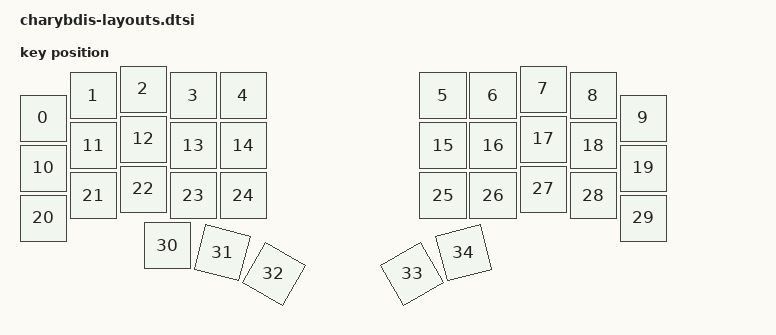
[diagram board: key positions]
#include <physical_layouts.dtsi>

/ {
    charybdis_physical_layout: charybdis_physical_layout {
        compatible = "zmk,physical-layout";
        display-name = "Charybdis Nano 3x5";

        kscan = <&kscan0>;
        transform = <&five_column_transform>;

        keys
            // Left Half - Main Keys
            //                       w   h    x    y     rot    rx    ry
            = <&key_physical_attrs 100 100    0   58       0     0     0>
            , <&key_physical_attrs 100 100  100   13       0     0     0>
            , <&key_physical_attrs 100 100  200    0       0     0     0>
            , <&key_physical_attrs 100 100  300   13       0     0     0>
            , <&key_physical_attrs 100 100  400   13       0     0     0>
            , <&key_physical_attrs 100 100  800   13       0     0     0>
            , <&key_physical_attrs 100 100  900   13       0     0     0>
            , <&key_physical_attrs 100 100 1000    0       0     0     0>
            , <&key_physical_attrs 100 100 1100   13       0     0     0>
            , <&key_physical_attrs 100 100 1200   58       0     0     0>
            , <&key_physical_attrs 100 100    0  158       0     0     0>
            , <&key_physical_attrs 100 100  100  113       0     0     0>
            , <&key_physical_attrs 100 100  200  100       0     0     0>
            , <&key_physical_attrs 100 100  300  113       0     0     0>
            , <&key_physical_attrs 100 100  400  113       0     0     0>

            // Right Half - Main Keys
            //                       w   h    x    y     rot    rx    ry
            , <&key_physical_attrs 100 100  800  113       0     0     0>
            , <&key_physical_attrs 100 100  900  113       0     0     0>
            , <&key_physical_attrs 100 100 1000  100       0     0     0>
            , <&key_physical_attrs 100 100 1100  113       0     0     0>
            , <&key_physical_attrs 100 100 1200  158       0     0     0>
            , <&key_physical_attrs 100 100    0  258       0     0     0>
            , <&key_physical_attrs 100 100  100  213       0     0     0>
            , <&key_physical_attrs 100 100  200  200       0     0     0>
            , <&key_physical_attrs 100 100  300  213       0     0     0>
            , <&key_physical_attrs 100 100  400  213       0     0     0>
            , <&key_physical_attrs 100 100  800  213       0     0     0>
            , <&key_physical_attrs 100 100  900  213       0     0     0>
            , <&key_physical_attrs 100 100 1000  200       0     0     0>
            , <&key_physical_attrs 100 100 1100  213       0     0     0>
            , <&key_physical_attrs 100 100 1200  258       0     0     0>

            // Thumb Clusters
            //                       w   h    x    y     rot    rx    ry
            , <&key_physical_attrs 100 100  248  313       0     0     0>
            , <&key_physical_attrs 100 100  248  313    1500   298   790>
            , <&key_physical_attrs 100 100  248  313    3000   298   790>
            , <&key_physical_attrs 100 100  952  313 (-3000)  1002   790>
            , <&key_physical_attrs 100 100  952  313 (-1500)  1002   790>
            ;
    };
};
